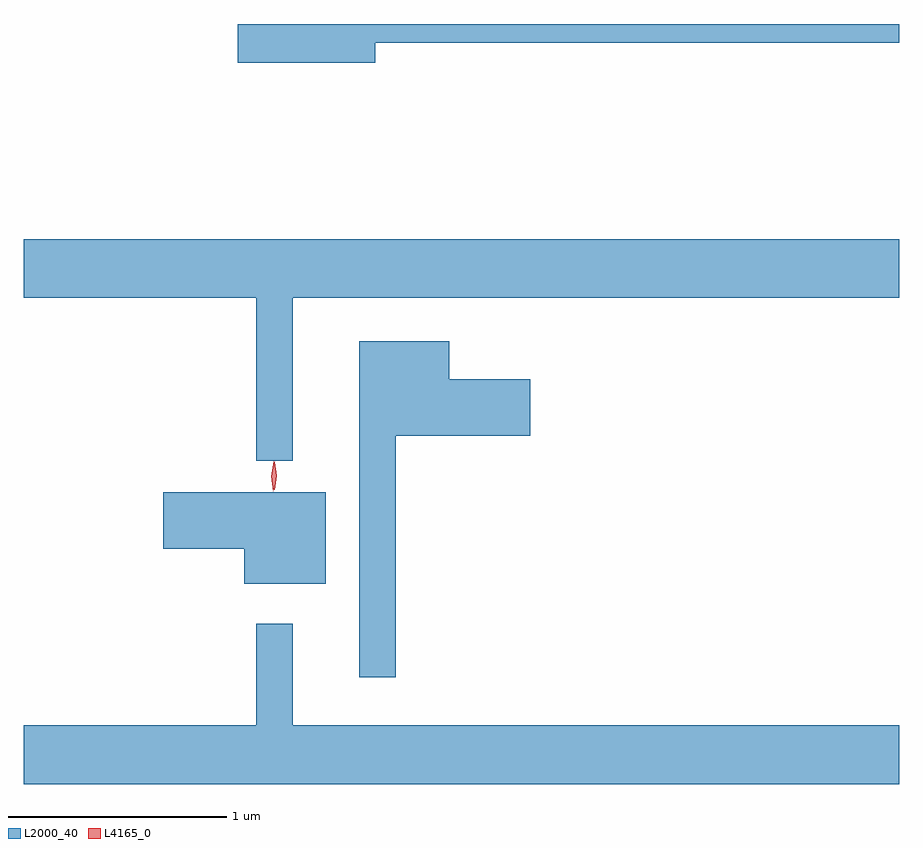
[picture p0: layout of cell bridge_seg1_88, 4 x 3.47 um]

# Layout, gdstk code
import gdstk
lib = gdstk.Library(unit=1e-6, precision=1e-09)
def P(c, l, *ps):  # polygons
    for p in ps: c.add(gdstk.Polygon(p, *l))
L2000_40 = (2000, 40)
L4165_0 = (4165, 0)

bridge_seg1_88 = lib.new_cell('bridge_seg1_88')
P(bridge_seg1_88, L2000_40, [(1231.174,876.321),(1233.569,876.321),(1233.569,876.407),(1230.546,876.407),(1230.546,876.231),(1231.174,876.231)],
  [(1230.799,875.156),(1233.569,875.156),(1233.569,875.424),(1229.569,875.424),(1229.569,875.156),(1230.631,875.156),(1230.631,874.413),(1230.799,874.413)],
  [(1231.269,874.526),(1231.884,874.526),(1231.884,874.784),(1231.514,874.784),(1231.514,874.959),(1231.101,874.959),(1231.101,873.423),(1231.269,873.423)],
  [(1230.949,874.269),(1230.206,874.269),(1230.206,874.011),(1230.576,874.011),(1230.576,873.851),(1230.949,873.851)],
  [(1233.569,873.204),(1230.799,873.204),(1230.799,873.668),(1230.631,873.668),(1230.631,873.204),(1229.569,873.204),(1229.569,872.936),(1233.569,872.936)])
P(bridge_seg1_88, L4165_0, [(1230.709,874.274),(1230.701,874.342),(1230.711,874.41),(1230.712,874.41),(1230.712,874.41),(1230.72,874.342),(1230.71,874.274),(1230.71,874.274)],
  [(1230.714,874.28),(1230.705,874.344),(1230.714,874.406),(1230.715,874.407),(1230.715,874.406),(1230.725,874.344),(1230.715,874.28),(1230.715,874.28)])

lib.write_gds('bridge_seg1_88.gds')
